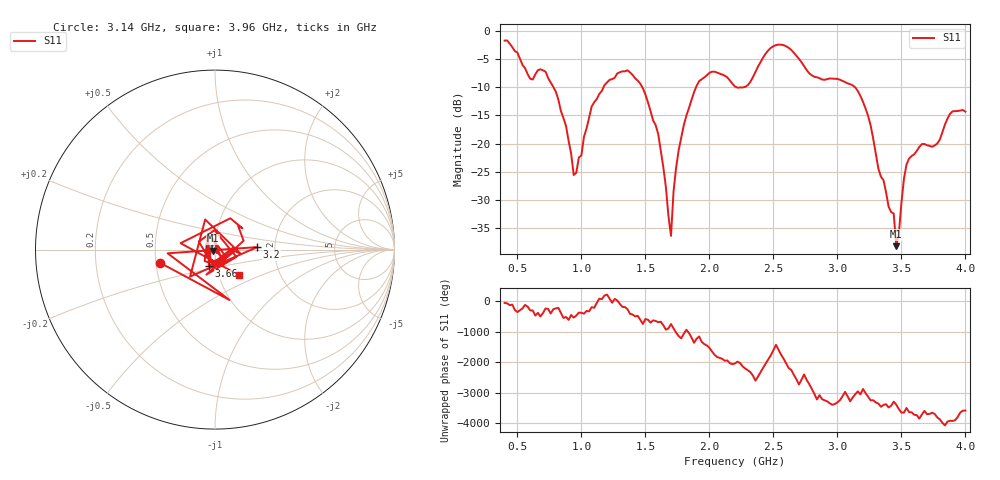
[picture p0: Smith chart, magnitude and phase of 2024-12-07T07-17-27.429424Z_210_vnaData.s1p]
!Created with skrf (http://scikit-rf.org).
# Hz S RI R 50.0
!freq ReS11 ImS11
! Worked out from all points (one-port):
!   181 points, 400 MHz to 4 GHz, reference 50 ohm
!   lowest |S11| = -38.2 dB at 3.46 GHz (marker M1), VSWR 1.02, Z = 48.9 - j0.603 ohm
!   |S11| at or under -10 dB: 782.3 MHz to 1.172 GHz (390.1 MHz wide, 39.9 % of centre); 1.476 GHz to 1.895 GHz (419.4 MHz wide, 24.9 % of centre); 3.139 GHz to end of sweep (the widest 3 of 4)
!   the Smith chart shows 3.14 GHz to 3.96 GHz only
!   S11 on the Smith chart (normalised r, x): 3.14 GHz: 0.53, -0.09; 3.2 GHz: 1.61, +0.05; 3.66 GHz: 0.92, -0.17; 3.96 GHz: 1.25, -0.37
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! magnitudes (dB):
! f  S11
! 400 MHz  -1.7
! 600 MHz  -8.5
! 720 MHz  -7.2
! 860 MHz  -15.5
! 940 MHz  -25.6
! 1.08 GHz  -13.4
! 1.3 GHz  -7.3
! 1.46 GHz  -9.3
! 1.58 GHz  -16.7
! 1.64 GHz  -24.2
! 1.7 GHz  -36.4
! 1.72 GHz  -28.5
! 1.76 GHz  -21.1
! 1.92 GHz  -8.9
! 2.2 GHz  -9.9
! 2.5 GHz  -2.7
! 2.66 GHz  -3.9
! 3.1 GHz  -9.5
! 3.14 GHz  -10.0
! 3.2 GHz  -12.6
! 3.44 GHz  -32.4
! 3.46 GHz  -38.2
! 3.52 GHz  -26.2
! 3.56 GHz  -22.6
! 3.66 GHz  -20.1
! 3.78 GHz  -20.0
! 3.96 GHz  -14.1
! 4 GHz  -14.3
